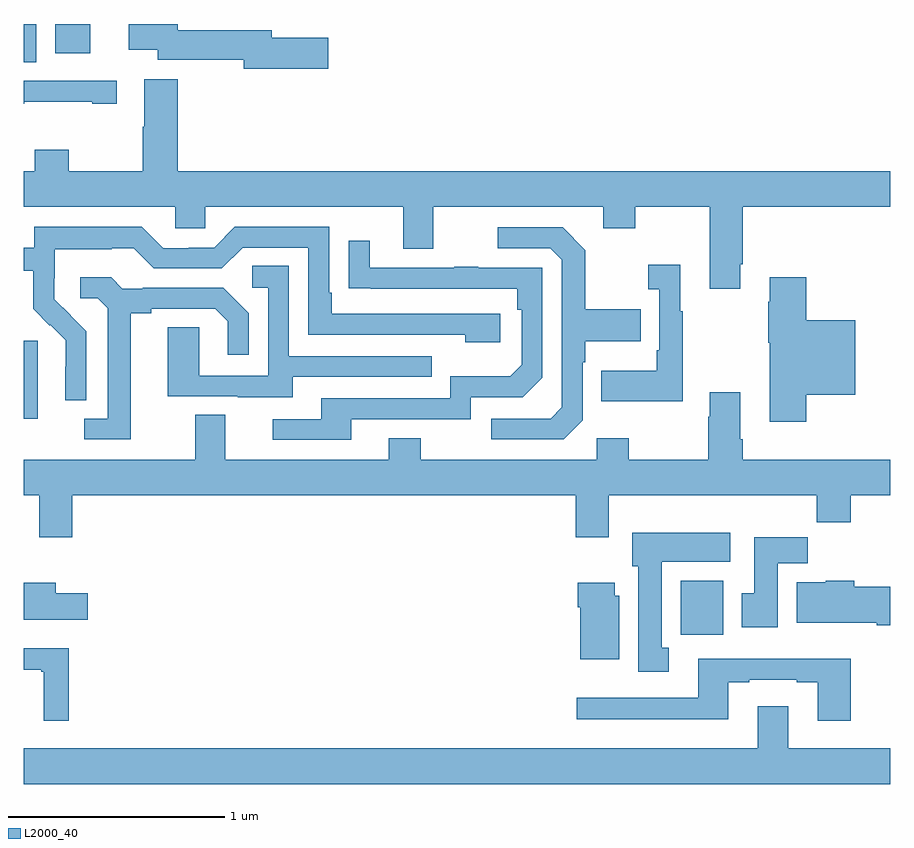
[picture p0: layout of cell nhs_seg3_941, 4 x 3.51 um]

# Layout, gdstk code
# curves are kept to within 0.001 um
import gdstk
lib = gdstk.Library(unit=1e-6, precision=1e-09)
def R(c, l, rs):  # rectangles x0, y0, x1, y1
    for r in rs: c.add(gdstk.rectangle(r[:2], r[2:], *l))
def P(c, l, *ps):  # polygons
    for p in ps: c.add(gdstk.Polygon(p, *l))
L2000_40 = (2000, 40)

nhs_seg3_941 = lib.new_cell('nhs_seg3_941')
R(nhs_seg3_941, L2000_40, [(162.033,725.58,162.229,725.83), (159,726.578,159.064,726.939), (159,728.224,159.058,728.4), (159.146,728.265,159.307,728.4)])
P(nhs_seg3_941, L2000_40, [(160.405,728.336),(160.144,728.336),(160.144,728.372),(159.712,728.372),(159.712,728.4),(159.485,728.4),(159.485,728.282),(159.618,728.282),(159.618,728.236),(160.016,728.236),(160.016,728.194),(160.405,728.194)],
  [(162.307,727.291),(162.32,727.291),(162.32,727.556),(163,727.556),(163,727.72),(159.71,727.72),(159.71,728.146),(159.557,728.146),(159.557,727.925),(159.55,727.925),(159.55,727.72),(159.207,727.72),(159.207,727.819),(159.052,727.819),(159.052,727.72),(159,727.72),(159,727.556),(159.699,727.556),(159.699,727.458),(159.837,727.458),(159.837,727.556),(160.751,727.556),(160.751,727.362),(160.891,727.362),(160.891,727.556),(161.675,727.556),(161.675,727.457),(161.823,727.457),(161.823,727.556),(162.167,727.556),(162.167,727.179),(162.307,727.179)],
  [(159.002,728.041),(159.317,728.041),(159.317,728.031),(159.43,728.031),(159.43,728.139),(159,728.139),(159,728.031),(159.002,728.031)],
  [(159.288,726.982),(159.142,727.13),(159.142,727.227),(159.144,727.227),(159.144,727.361),(159.407,727.361),(159.407,727.365),(159.507,727.365),(159.6,727.272),(159.915,727.272),(160.011,727.368),(160.314,727.368),(160.314,726.966),(161.039,726.966),(161.039,726.932),(161.2,726.932),(161.2,727.062),(160.423,727.062),(160.423,727.159),(160.41,727.159),(160.41,727.464),(159.975,727.464),(159.879,727.368),(159.761,727.368),(159.761,727.365),(159.645,727.365),(159.545,727.465),(159.048,727.465),(159.048,727.368),(159,727.368),(159,727.26),(159.043,727.26),(159.043,727.085),(159.12,727.008),(159.123,727.011),(159.194,726.941),(159.194,726.818),(159.192,726.818),(159.192,726.664),(159.288,726.664)],
  [(161.58,726.57),(161.58,726.839),(161.593,726.839),(161.593,726.935),(161.849,726.935),(161.849,727.083),(161.593,727.083),(161.593,727.355),(161.487,727.461),(161.187,727.461),(161.187,727.365),(161.43,727.365),(161.484,727.311),(161.484,726.63),(161.433,726.579),(161.157,726.579),(161.157,726.483),(161.493,726.483)],
  [(160.513,726.576),(161.064,726.576),(161.064,726.678),(161.304,726.678),(161.394,726.768),(161.394,727.275),(161.099,727.275),(161.099,727.28),(160.987,727.28),(160.987,727.275),(160.597,727.275),(160.597,727.399),(160.501,727.399),(160.501,727.18),(161.278,727.179),(161.278,727.082),(161.298,727.082),(161.298,726.828),(161.245,726.775),(160.968,726.775),(160.968,726.672),(160.373,726.672),(160.373,726.576),(160.149,726.576),(160.149,726.48),(160.513,726.48)],
  [(162.043,727.075),(162.031,727.075),(162.031,727.288),(161.883,727.288),(161.883,727.175),(161.934,727.175),(161.934,726.895),(161.922,726.895),(161.922,726.799),(161.665,726.799),(161.665,726.659),(162.043,726.659)],
  [(160.243,726.771),(160.883,726.771),(160.883,726.867),(160.224,726.867),(160.224,727.283),(160.056,727.283),(160.056,727.182),(160.128,727.182),(160.128,726.777),(159.81,726.777),(159.81,727.001),(159.665,727.001),(159.665,726.681),(159.989,726.681),(159.989,726.677),(160.243,726.677)],
  [(162.611,726.689),(162.838,726.689),(162.838,727.033),(162.611,727.033),(162.611,727.231),(162.443,727.231),(162.443,727.118),(162.436,727.118),(162.436,726.929),(162.443,726.929),(162.443,726.564),(162.611,726.564)],
  [(159.493,727.064),(159.589,727.064),(159.589,727.086),(159.884,727.086),(159.941,727.029),(159.941,726.873),(160.038,726.873),(160.038,727.066),(159.922,727.182),(159.55,727.182),(159.55,727.179),(159.456,727.179),(159.404,727.231),(159.261,727.231),(159.261,727.134),(159.342,727.134),(159.389,727.087),(159.389,726.579),(159.279,726.579),(159.279,726.483),(159.493,726.483)],
  [(159.224,726.224),(161.549,726.224),(161.549,726.03),(161.701,726.03),(161.701,726.224),(162.661,726.224),(162.661,726.1),(162.818,726.1),(162.818,726.224),(163,726.224),(163,726.388),(162.32,726.388),(162.32,726.484),(162.307,726.484),(162.307,726.7),(162.167,726.7),(162.167,726.587),(162.16,726.587),(162.16,726.388),(161.793,726.388),(161.793,726.487),(161.646,726.487),(161.646,726.388),(160.833,726.388),(160.833,726.487),(160.685,726.487),(160.685,726.388),(159.931,726.388),(159.931,726.596),(159.791,726.596),(159.791,726.388),(159,726.388),(159,726.224),(159.071,726.224),(159.071,726.03),(159.224,726.03)],
  [(161.977,725.521),(161.944,725.521),(161.944,725.918),(162.262,725.918),(162.262,726.052),(161.81,726.052),(161.81,725.898),(161.837,725.898),(161.837,725.409),(161.977,725.409)],
  [(162.481,725.912),(162.62,725.912),(162.62,726.031),(162.371,726.031),(162.371,725.772),(162.314,725.772),(162.314,725.616),(162.481,725.616)],
  [(163,725.802),(162.833,725.802),(162.833,725.83),(162.702,725.83),(162.702,725.824),(162.569,725.824),(162.569,725.636),(162.938,725.636),(162.938,725.624),(163,725.624)],
  [(161.749,725.76),(161.728,725.76),(161.728,725.821),(161.558,725.821),(161.558,725.708),(161.57,725.708),(161.57,725.468),(161.749,725.468)],
  [(159.295,725.773),(159.148,725.773),(159.148,725.821),(159,725.821),(159,725.651),(159.295,725.651)],
  [(159.209,725.518),(159,725.518),(159,725.42),(159.081,725.42),(159.081,725.409),(159.092,725.409),(159.092,725.184),(159.209,725.184)],
  [(162.818,725.47),(162.113,725.47),(162.113,725.289),(161.553,725.289),(161.553,725.192),(162.253,725.192),(162.253,725.361),(162.349,725.361),(162.349,725.373),(162.569,725.373),(162.569,725.361),(162.665,725.361),(162.665,725.184),(162.818,725.184)],
  [(163,725.056),(162.529,725.056),(162.529,725.251),(162.389,725.251),(162.389,725.056),(159,725.056),(159,724.892),(163,724.892)])

lib.write_gds('nhs_seg3_941.gds')
